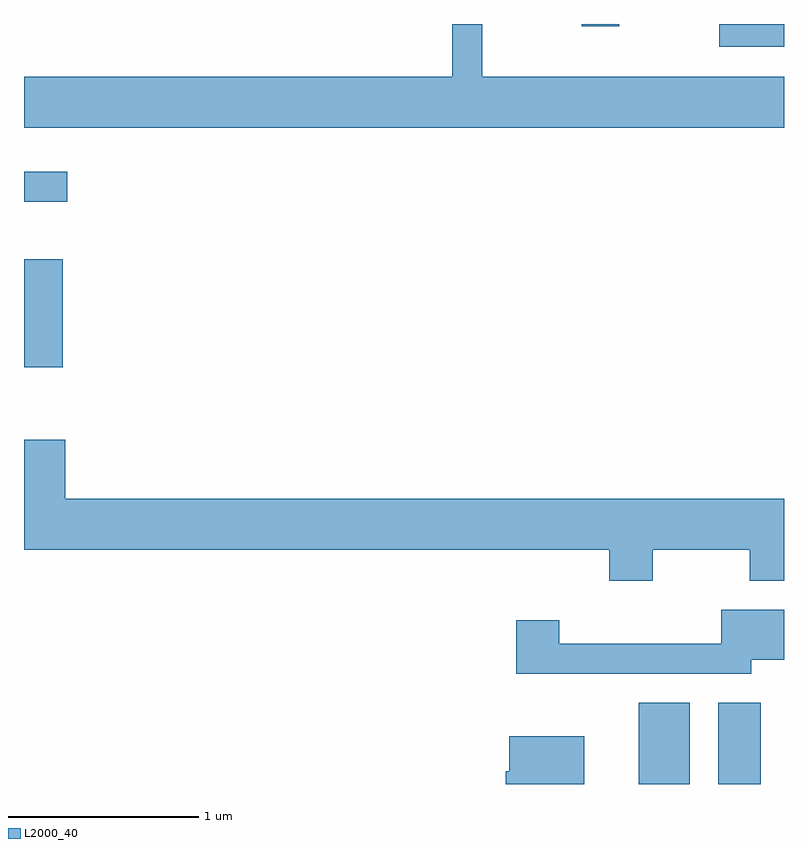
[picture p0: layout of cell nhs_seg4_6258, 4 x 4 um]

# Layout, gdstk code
import gdstk
lib = gdstk.Library(unit=1e-6, precision=1e-09)
def R(c, l, rs):  # rectangles x0, y0, x1, y1
    for r in rs: c.add(gdstk.rectangle(r[:2], r[2:], *l))
def P(c, l, *ps):  # polygons
    for p in ps: c.add(gdstk.Polygon(p, *l))
L2000_40 = (2000, 40)

nhs_seg4_6258 = lib.new_cell('nhs_seg4_6258')
R(nhs_seg4_6258, L2000_40, [(372.846,1257.982,373.114,1258.409), (373.266,1257.982,373.489,1258.409), (369.611,1260.176,369.814,1260.744), (369.611,1261.046,369.838,1261.204), (373.271,1261.861,373.611,1261.982), (372.546,1261.971,372.744,1261.982)])
P(nhs_seg4_6258, L2000_40, [(373.611,1261.704),(372.024,1261.704),(372.024,1261.982),(371.866,1261.982),(371.866,1261.704),(369.611,1261.704),(369.611,1261.436),(373.611,1261.436)],
  [(372.919,1259.216),(373.431,1259.216),(373.431,1259.051),(373.611,1259.051),(373.611,1259.484),(369.829,1259.484),(369.829,1259.794),(369.611,1259.794),(369.611,1259.216),(372.691,1259.216),(372.691,1259.051),(372.919,1259.051)],
  [(373.439,1258.636),(373.611,1258.636),(373.611,1258.899),(373.281,1258.899),(373.281,1258.719),(372.429,1258.719),(372.429,1258.844),(372.201,1258.844),(372.201,1258.561),(373.439,1258.561)],
  [(372.559,1258.234),(372.166,1258.234),(372.166,1258.049),(372.146,1258.049),(372.146,1257.982),(372.559,1257.982)])

lib.write_gds('nhs_seg4_6258.gds')
